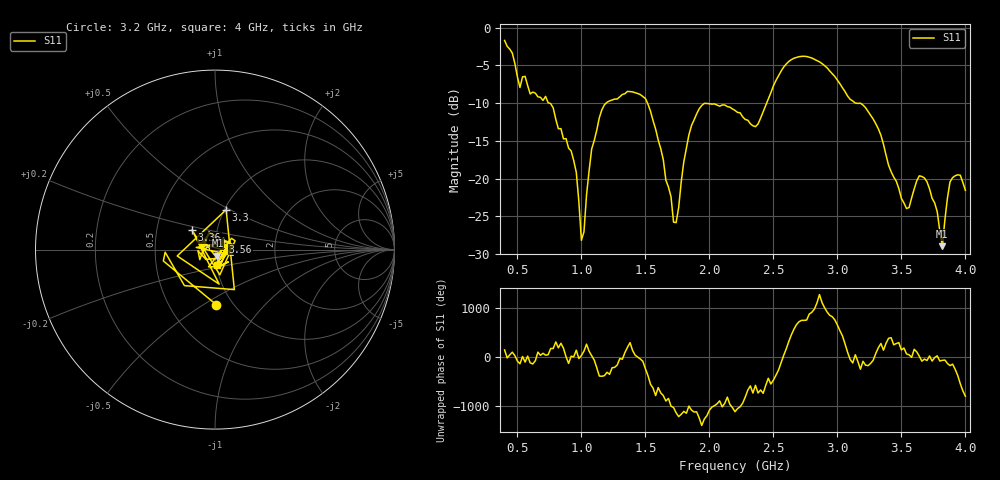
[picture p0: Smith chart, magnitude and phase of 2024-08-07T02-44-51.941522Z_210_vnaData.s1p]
!Created with skrf (http://scikit-rf.org).
# Hz S RI R 50.0
!freq ReS11 ImS11
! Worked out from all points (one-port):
!   181 points, 400 MHz to 4 GHz, reference 50 ohm
!   lowest |S11| = -28.9 dB at 3.82 GHz (marker M1), VSWR 1.07, Z = 51.2 - j3.4 ohm
!   |S11| at or under -10 dB: 747.8 MHz to 1.193 GHz (445.5 MHz wide, 45.9 % of centre); 1.516 GHz to 2.447 GHz (931 MHz wide, 47 % of centre); 3.14 GHz to end of sweep
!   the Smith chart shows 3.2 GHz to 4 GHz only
!   S11 on the Smith chart (normalised r, x): 3.2 GHz: 0.84, -0.57; 3.3 GHz: 1.02, +0.48; 3.36 GHz: 0.76, +0.17; 3.56 GHz: 1.09, +0.10; 4 GHz: 1.01, -0.17
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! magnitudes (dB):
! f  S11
! 400 MHz  -1.7
! 520 MHz  -7.9
! 720 MHz  -9.1
! 860 MHz  -14.7
! 960 MHz  -19.2
! 1 GHz  -28.2
! 1.08 GHz  -16.1
! 1.14 GHz  -11.9
! 1.3 GHz  -9.2
! 1.5 GHz  -9.4
! 1.64 GHz  -17.5
! 1.72 GHz  -25.8
! 1.76 GHz  -23.8
! 1.84 GHz  -14.2
! 1.92 GHz  -10.8
! 2.2 GHz  -11.0
! 2.36 GHz  -13.1
! 2.66 GHz  -4.1
! 2.88 GHz  -4.8
! 3.1 GHz  -9.5
! 3.2 GHz  -10.3
! 3.3 GHz  -12.7
! 3.36 GHz  -15.5
! 3.56 GHz  -23.8
! 3.68 GHz  -19.9
! 3.82 GHz  -28.9
! 3.88 GHz  -20.4
! 4 GHz  -21.5
